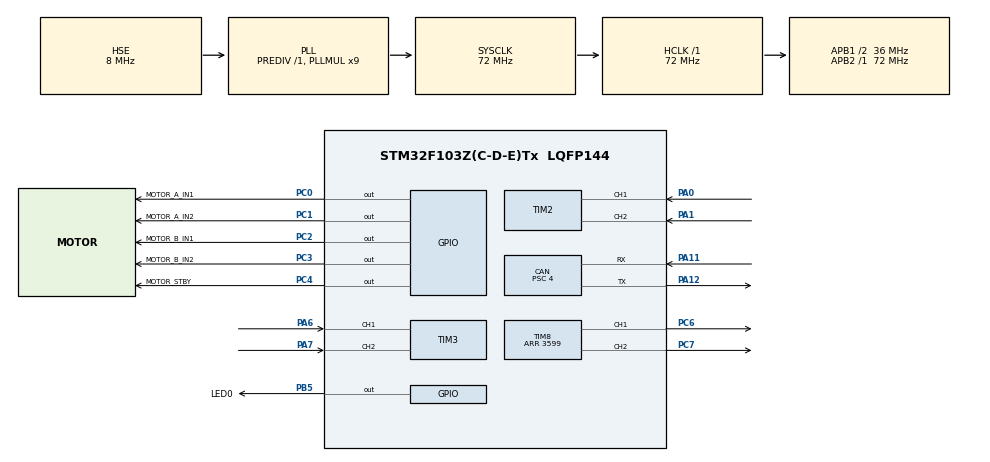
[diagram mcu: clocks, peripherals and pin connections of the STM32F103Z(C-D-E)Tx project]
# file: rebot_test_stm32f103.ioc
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CAN.ABOM=ENABLE
CAN.BS1=CAN_BS1_14TQ
CAN.BS2=CAN_BS2_3TQ
CAN.CalculateBaudRate=500000
CAN.CalculateTimeBit=2000
CAN.CalculateTimeQuantum=111.11111111111111
CAN.NART=ENABLE
CAN.Prescaler=4
Mcu.Family=STM32F1
Mcu.Name=STM32F103Z(C-D-E)Tx
Mcu.Package=LQFP144
NVIC.CAN1_SCE_IRQn=true\:2\:0\:true\:false\:true\:true\:true\:true
NVIC.PriorityGroup=NVIC_PRIORITYGROUP_4
NVIC.USB_LP_CAN1_RX0_IRQn=true\:1\:0\:true\:false\:true\:true\:true\:true
OSC_IN.Mode=HSE-External-Oscillator
OSC_IN.Signal=RCC_OSC_IN
OSC_OUT.Mode=HSE-External-Oscillator
OSC_OUT.Signal=RCC_OSC_OUT
PA0-WKUP.Signal=S_TIM2_CH1_ETR
PA1.Signal=S_TIM2_CH2
PA11.Mode=CAN_Activate
PA11.Signal=CAN_RX
PA12.Mode=CAN_Activate
PA12.Signal=CAN_TX
PA13.Mode=Serial_Wire
PA13.Signal=SYS_JTMS-SWDIO
PA14.Mode=Serial_Wire
PA14.Signal=SYS_JTCK-SWCLK
PA6.Signal=S_TIM3_CH1
PA7.Signal=S_TIM3_CH2
PB5.GPIO_Label=LED0
PB5.GPIO_PuPd=GPIO_NOPULL
PB5.GPIO_Speed=GPIO_SPEED_FREQ_LOW
PB5.PinState=GPIO_PIN_SET
PB5.Signal=GPIO_Output
PC0.GPIO_Label=MOTOR_A_IN1
PC0.Signal=GPIO_Output
PC1.GPIO_Label=MOTOR_A_IN2
PC1.Signal=GPIO_Output
PC14-OSC32_IN.Mode=LSE-External-Oscillator
PC14-OSC32_IN.Signal=RCC_OSC32_IN
PC15-OSC32_OUT.Mode=LSE-External-Oscillator
PC15-OSC32_OUT.Signal=RCC_OSC32_OUT
PC2.GPIO_Label=MOTOR_B_IN1
PC2.Signal=GPIO_Output
PC3.GPIO_Label=MOTOR_B_IN2
PC3.Signal=GPIO_Output
PC4.GPIO_Label=MOTOR_STBY
PC4.Signal=GPIO_Output
PC6.Signal=S_TIM8_CH1
PC7.Signal=S_TIM8_CH2
ProjectManager.HeapSize=0x200
ProjectManager.StackSize=0x400
ProjectManager.TargetToolchain=STM32CubeIDE
RCC.AHBFreq_Value=72000000
RCC.APB1CLKDivider=RCC_HCLK_DIV2
RCC.APB1Freq_Value=36000000
RCC.APB1TimFreq_Value=72000000
RCC.APB2Freq_Value=72000000
RCC.APB2TimFreq_Value=72000000
RCC.HCLKFreq_Value=72000000
RCC.PLLMUL=RCC_PLL_MUL9
RCC.PLLSourceVirtual=RCC_PLLSOURCE_HSE
RCC.SYSCLKFreq_VALUE=72000000
RCC.SYSCLKSource=RCC_SYSCLKSOURCE_PLLCLK
RCC.USBFreq_Value=72000000
SH.S_TIM2_CH1_ETR.0=TIM2_CH1,Encoder_Interface
SH.S_TIM2_CH2.0=TIM2_CH2,Encoder_Interface
SH.S_TIM3_CH1.0=TIM3_CH1,Encoder_Interface
SH.S_TIM3_CH2.0=TIM3_CH2,Encoder_Interface
SH.S_TIM8_CH1.0=TIM8_CH1,PWM Generation1 CH1
SH.S_TIM8_CH2.0=TIM8_CH2,PWM Generation2 CH2
TIM2.EncoderMode=TIM_ENCODERMODE_TI12
TIM2.IC1Filter=6
TIM2.IC2Filter=6
TIM3.EncoderMode=TIM_ENCODERMODE_TI12
TIM3.IC1Filter=6
TIM8.AutoReloadPreload=TIM_AUTORELOAD_PRELOAD_ENABLE
TIM8.Channel-PWM\ Generation1\ CH1=TIM_CHANNEL_1
TIM8.Channel-PWM\ Generation2\ CH2=TIM_CHANNEL_2
TIM8.Period=3599
VP_TIM8_VS_ClockSourceINT.Mode=Internal
board=custom

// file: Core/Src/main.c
/* USER CODE BEGIN Header */
/**
  ******************************************************************************
  * @file           : main.c
  * @brief          : Main program body
  ******************************************************************************
  * @attention
  *
  * Copyright (c) 2026 STMicroelectronics.
  * All rights reserved.
  *
  * This software is licensed under terms that can be found in the LICENSE file
  * in the root directory of this software component.
  * If no LICENSE file comes with this software, it is provided AS-IS.
  *
  ******************************************************************************
  */
/* USER CODE END Header */
#include "main.h"
#include "can.h"
#include "tim.h"
#include "gpio.h"

/* USER CODE BEGIN Includes */
#include "motor_control.h"
#include "motor_can.h"
/* USER CODE END Includes */

void SystemClock_Config(void);

/* USER CODE BEGIN 0 */

volatile uint32_t can_tx_ok_count = 0;
volatile uint32_t can_tx_error_count = 0;
volatile uint32_t can_rx_count = 0;

static void CAN_Filter_Config(void)
{
    CAN_FilterTypeDef filter = {0};

    filter.FilterBank = 0;
    filter.FilterMode = CAN_FILTERMODE_IDMASK;
    filter.FilterScale = CAN_FILTERSCALE_32BIT;

    /* 全部为0：接收所有CAN报文 */
    filter.FilterIdHigh = 0x0000;
    filter.FilterIdLow = 0x0000;
    filter.FilterMaskIdHigh = 0x0000;
    filter.FilterMaskIdLow = 0x0000;

    filter.FilterFIFOAssignment = CAN_RX_FIFO0;
    filter.FilterActivation = ENABLE;
    filter.SlaveStartFilterBank = 14;

    if (HAL_CAN_ConfigFilter(&hcan, &filter) != HAL_OK)
    {
        Error_Handler();
    }
}

static HAL_StatusTypeDef CAN_Send_Test(void)
{
    CAN_TxHeaderTypeDef tx_header = {0};
    uint8_t tx_data[8] = {
        0x11, 0x22, 0x33, 0x44,
        0x55, 0x66, 0x77, 0x88
    };
    uint32_t tx_mailbox;

    tx_header.StdId = 0x123;
    tx_header.ExtId = 0;
    tx_header.IDE = CAN_ID_STD;
    tx_header.RTR = CAN_RTR_DATA;
    tx_header.DLC = 8;
    tx_header.TransmitGlobalTime = DISABLE;

    return HAL_CAN_AddTxMessage(
        &hcan,
        &tx_header,
        tx_data,
        &tx_mailbox);
}

/* USER CODE END 0 */

int main(void)
{

  /* MCU Configuration--------------------------------------------------------*/

  /* Reset of all peripherals, Initializes the Flash interface and the Systick. */
  HAL_Init();

  /* Configure the system clock */
  SystemClock_Config();

  /* Initialize all configured peripherals */
  MX_GPIO_Init();
  MX_CAN_Init();
  MX_TIM2_Init();
  MX_TIM3_Init();
  MX_TIM8_Init();
  /* USER CODE BEGIN 2 */

  if (MotorControl_Init() != HAL_OK) Error_Handler();
  if (MotorCan_Init() != HAL_OK) Error_Handler();

  /* USER CODE END 2 */

  /* Infinite loop */
  while (1)
  {

    /* USER CODE BEGIN 3 */
      MotorControl_Process();
      MotorCan_Process();
      HAL_Delay(1);

  }

  /* USER CODE END 3 */
}

void SystemClock_Config(void)
{
  RCC_OscInitTypeDef RCC_OscInitStruct = {0};
  RCC_ClkInitTypeDef RCC_ClkInitStruct = {0};

  /** Initializes the RCC Oscillators according to the specified parameters
  * in the RCC_OscInitTypeDef structure.
  */
  RCC_OscInitStruct.OscillatorType = RCC_OSCILLATORTYPE_HSE;
  RCC_OscInitStruct.HSEState = RCC_HSE_ON;
  RCC_OscInitStruct.HSEPredivValue = RCC_HSE_PREDIV_DIV1;
  RCC_OscInitStruct.HSIState = RCC_HSI_ON;
  RCC_OscInitStruct.PLL.PLLState = RCC_PLL_ON;
  RCC_OscInitStruct.PLL.PLLSource = RCC_PLLSOURCE_HSE;
  RCC_OscInitStruct.PLL.PLLMUL = RCC_PLL_MUL9;
  if (HAL_RCC_OscConfig(&RCC_OscInitStruct) != HAL_OK)
  {
    Error_Handler();
  }

  /** Initializes the CPU, AHB and APB buses clocks
  */
  RCC_ClkInitStruct.ClockType = RCC_CLOCKTYPE_HCLK|RCC_CLOCKTYPE_SYSCLK
                              |RCC_CLOCKTYPE_PCLK1|RCC_CLOCKTYPE_PCLK2;
  RCC_ClkInitStruct.SYSCLKSource = RCC_SYSCLKSOURCE_PLLCLK;
  RCC_ClkInitStruct.AHBCLKDivider = RCC_SYSCLK_DIV1;
  RCC_ClkInitStruct.APB1CLKDivider = RCC_HCLK_DIV2;
  RCC_ClkInitStruct.APB2CLKDivider = RCC_HCLK_DIV1;

  if (HAL_RCC_ClockConfig(&RCC_ClkInitStruct, FLASH_LATENCY_2) != HAL_OK)
  {
    Error_Handler();
  }
}

/* USER CODE BEGIN 4 */

void HAL_CAN_RxFifo0MsgPendingCallback(CAN_HandleTypeDef *hcan_ptr)
{
    CAN_RxHeaderTypeDef rx_header;
    uint8_t rx_data[8];

    if (HAL_CAN_GetRxMessage(
            hcan_ptr,
            CAN_RX_FIFO0,
            &rx_header,
            rx_data) == HAL_OK)
    {
        can_rx_count++;
        MotorCan_OnRx(&rx_header, rx_data);

        if (rx_header.IDE == CAN_ID_STD)
        {
            /* 标准帧ID：rx_header.StdId */
        }
        else
        {
            /* 扩展帧ID：rx_header.ExtId */
        }

        /* rx_data[0]~rx_data[7] 为接收数据 */
    }
}

/* USER CODE END 4 */

void Error_Handler(void)
{
  __disable_irq();
  while (1)
  {
  }
}
